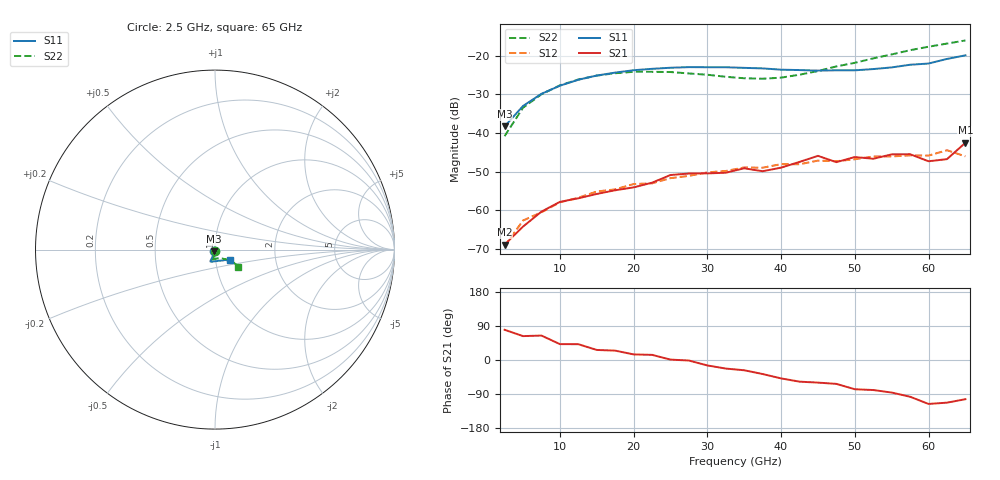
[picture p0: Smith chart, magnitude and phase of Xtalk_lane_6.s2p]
! File created by SignalIntegrity v1.5.1: Signal and Power Integrity Tools
! https://github.com/Nubis-Communications/SignalIntegrity
# MHz S MA R 50.0
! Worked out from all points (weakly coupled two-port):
!   26 points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, 2.5 GHz to 65 GHz, reference 50 ohm
!   highest |S21| = -42.53 dB at 65 GHz (marker M1); lowest = -68.9 dB at 2.5 GHz (marker M2)
!   lowest |S11| = -38.3 dB at 2.5 GHz (marker M3), VSWR 1.02, Z = 49.3 - j1.01 ohm
!   |S11| at or under -10 dB: start of sweep to end of sweep
!   |S22| runs from -40.8 to -16.0 dB; largest |S21 - S12| = 0.003
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2500  0.01218 -122.7  0.0003586 79.7  0.0003419 79.2  0.009105 -92.8
5000  0.02241 -110.8  0.0006134 63.0  0.0007351 60.2  0.02128 -92.8
7500  0.03221 -109.0  0.000959 64.5  0.0009401 61.4  0.03173 -96.2
10000  0.04102 -108.9  0.001282 41.9  0.001265 48.3  0.04149 -99.6
15000  0.05553 -110.8  0.001624 26.5  0.001745 32.6  0.05549 -105.4
17500  0.06065 -111.2  0.001813 24.7  0.001862 25.6  0.05951 -106.9
20000  0.0651 -111.6  0.001975 14.7  0.002183 18.8  0.06211 -108.5
22500  0.06788 -111.8  0.002273 13.6  0.002228 11.1  0.06208 -108.5
25000  0.0701 -111.4  0.002856 1.0  0.002601 1.6  0.06169 -108.0
32500  0.07115 -107.7  0.003059 -22.6  0.003224 -20.8  0.0535 -97.4
35000  0.06986 -105.4  0.003491 -27.1  0.00358 -28.8  0.05124 -89.2
37500  0.06874 -102.0  0.003198 -37.0  0.003551 -36.7  0.0505 -79.9
40000  0.06618 -98.3  0.003559 -48.6  0.003953 -43.1  0.05215 -68.8
45000  0.06439 -87.5  0.005061 -59.6  0.004391 -60.7  0.06351 -51.1
47500  0.06493 -81.0  0.004192 -63.0  0.004312 -70.1  0.07294 -45.6
50000  0.06492 -72.3  0.004884 -77.2  0.004572 -74.7  0.08114 -41.5
52500  0.06738 -66.1  0.004641 -79.2  0.004968 -84.1  0.09276 -37.7
55000  0.07081 -60.1  0.005289 -85.9  0.004969 -87.5  0.1043 -35.7
57500  0.07667 -51.2  0.005316 -97.0  0.005134 -99.3  0.1183 -34.2
60000  0.07946 -46.2  0.004306 -116.0  0.0051 -109.4  0.1313 -35.2
62500  0.09116 -41.2  0.004586 -112.6  0.005985 -115.3  0.1442 -35.4
65000  0.1015 -35.8  0.007474 -103.5  0.004983 -118.8  0.1582 -36.8
